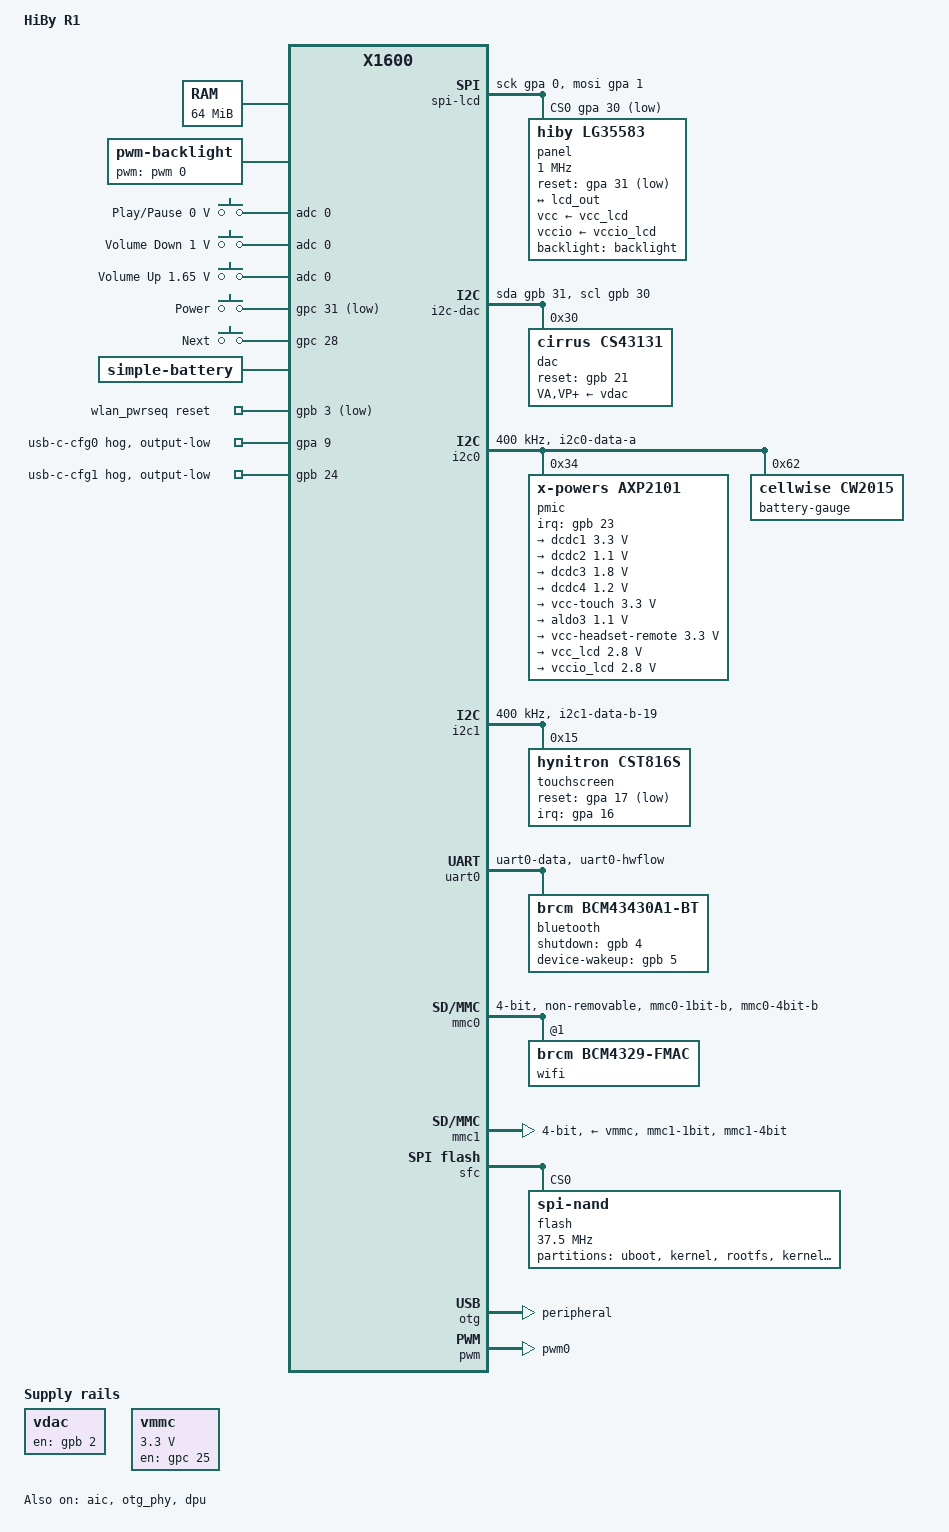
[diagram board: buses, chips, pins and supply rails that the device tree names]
// SPDX-License-Identifier: GPL-2.0
/dts-v1/;

#include "x1600.dtsi"

#include <dt-bindings/gpio/gpio.h>
#include <dt-bindings/input/input.h>
#include <dt-bindings/interrupt-controller/irq.h>

/ {
	compatible = "hiby,r1", "ingenic,x1600";
	model = "HiBy R1";

	/*
	 * The SD card stays mmc0 (and mmcblk0, which init mounts) now that
	 * MSC0, which probes first, has the Wi-Fi chip.
	 */
	aliases {
		mmc0 = &mmc1;
		mmc1 = &mmc0;
	};

	/*
	 * CPM SLPC (0x100000cc): the boot ROM enters its USB boot mode (a108:eaef)
	 * after a reset when this holds "BWS\2". So "reboot loader" (and adb's
	 * "reboot bootloader") lands in the ROM's USB mode, from which
	 * r1-usbboot.py loads U-Boot. A syscon of its own because the CGU node
	 * isn't one; the register is a word the CGU driver never touches.
	 */
	slpc: syscon@100000cc {
		compatible = "syscon", "simple-mfd";
		reg = <0x100000cc 0x4>;

		reboot-mode {
			compatible = "syscon-reboot-mode";
			offset = <0x0>;
			mode-loader = <0x42575302>;
			mode-bootloader = <0x42575302>;
		};
	};

	chosen {
		/* clk_ignore_unused: no clock driver may gate what the display uses. */
		bootargs = "console=tty0 loglevel=8 clk_ignore_unused";
	};

	memory@0 {
		device_type = "memory";
		reg = <0x0 0x4000000>;
	};

	reserved-memory {
		#address-cells = <1>;
		#size-cells = <1>;
		ranges;

		/*
		 * Until its driver takes over, the display controller keeps
		 * scanning out what the stock kernel set up: two 480x800
		 * RGB565 pages, through a frame descriptor the controller
		 * rereads every frame. The stock kernel allocates that
		 * descriptor anywhere, so before the jump the loader chains
		 * it to a self-linked copy at 0x02776f00, in the last row of
		 * page 1: memory the stock kernel won't hand out, and which
		 * nothing shows here.
		 */
		lcd_pages: framebuffer@2600000 {
			reg = <0x02600000 0x177000>;
			no-map;
		};

		/*
		 * The last kernel log and any oops, kept across a watchdog
		 * reset (RAM keeps its contents) for the next boot to read in
		 * /sys/fs/pstore.
		 */
		ramoops@3ff0000 {
			compatible = "ramoops";
			reg = <0x03ff0000 0x10000>;
			record-size = <0x4000>;
			console-size = <0x8000>;
		};
	};

	framebuffer@2600000 {
		compatible = "simple-framebuffer";
		reg = <0x02600000 0xbb800>;
		width = <480>;
		height = <800>;
		stride = <960>;
		format = "r5g6b5";

		/* Keeps the display's pixel clock on. */
		clocks = <&cgu X1600_CLK_LCDPIXCLK>;
	};

	backlight: backlight {
		compatible = "pwm-backlight";
		pwms = <&pwm 0 33333 0>;

		brightness-levels = <0 100>;
		num-interpolated-steps = <100>;
		default-brightness-level = <60>;
	};

	/* The panel's set-up bus: bit-banged, write only. */
	spi-lcd {
		compatible = "spi-gpio";
		#address-cells = <1>;
		#size-cells = <0>;

		sck-gpios = <&gpa 0 GPIO_ACTIVE_HIGH>;
		mosi-gpios = <&gpa 1 GPIO_ACTIVE_HIGH>;
		cs-gpios = <&gpa 30 GPIO_ACTIVE_LOW>;
		num-chipselects = <1>;

		panel@0 {
			compatible = "hiby,lg35583";
			reg = <0>;
			spi-max-frequency = <1000000>;

			vcc-supply = <&vcc_lcd>;
			vccio-supply = <&vccio_lcd>;
			reset-gpios = <&gpa 31 GPIO_ACTIVE_LOW>;
			backlight = <&backlight>;

			port {
				panel_in: endpoint {
					remote-endpoint = <&lcd_out>;
				};
			};
		};
	};

	/* Three buttons share ADC channel 0, each pulling it to its own level. */
	keys-adc {
		compatible = "adc-keys";
		io-channels = <&adc 0>;
		io-channel-names = "buttons";
		keyup-threshold-microvolt = <3300000>;
		poll-interval = <50>;

		button-play-pause {
			label = "Play/Pause";
			linux,code = <KEY_PLAYPAUSE>;
			press-threshold-microvolt = <0>;
		};

		button-volume-down {
			label = "Volume Down";
			linux,code = <KEY_VOLUMEDOWN>;
			press-threshold-microvolt = <1000000>;
		};

		button-volume-up {
			label = "Volume Up";
			linux,code = <KEY_VOLUMEUP>;
			press-threshold-microvolt = <1650000>;
		};
	};

	keys-gpio {
		compatible = "gpio-keys";

		key-power {
			label = "Power";
			gpios = <&gpc 31 GPIO_ACTIVE_LOW>;
			linux,code = <KEY_POWER>;
			wakeup-source;
		};

		key-next {
			label = "Next";
			gpios = <&gpc 28 GPIO_ACTIVE_HIGH>;
			linux,code = <KEY_NEXTSONG>;
		};
	};

	/*
	 * The charge settings of the stock firmware: 700 mA, 4.4 V, 100 mA
	 * termination and precharge.
	 */
	battery: battery {
		compatible = "simple-battery";
		constant-charge-current-max-microamp = <700000>;
		constant-charge-voltage-max-microvolt = <4400000>;
		charge-term-current-microamp = <100000>;
		precharge-current-microamp = <100000>;
	};

	/* PB2 powers the DAC; which of its rails it switches isn't known. */
	vdac: regulator-dac {
		compatible = "regulator-fixed";
		regulator-name = "dac";
		gpio = <&gpb 2 GPIO_ACTIVE_HIGH>;
		enable-active-high;
		startup-delay-us = <10000>;
	};

	/*
	 * PC25 switches the SD card slot's power. It has a pull-down: after a
	 * reset the card is off until something drives it high, which the
	 * stock kernel did.
	 */
	vmmc: regulator-sd {
		compatible = "regulator-fixed";
		regulator-name = "sd";
		regulator-min-microvolt = <3300000>;
		regulator-max-microvolt = <3300000>;
		gpio = <&gpc 25 GPIO_ACTIVE_HIGH>;
		enable-active-high;
		startup-delay-us = <1000>;
	};

	/*
	 * WL_REG_ON (PB3), which powers the Wi-Fi half of the AP6212. Its 32 kHz
	 * sleep clock is Bluetooth's (PC26).
	 */
	wlan_pwrseq: pwrseq-wlan {
		compatible = "mmc-pwrseq-simple";
		reset-gpios = <&gpb 3 GPIO_ACTIVE_LOW>;
		post-power-on-delay-ms = <200>;
	};

	/* The DAC's bus is bit-banged, as on the stock firmware. */
	i2c-dac {
		compatible = "i2c-gpio";
		scl-gpios = <&gpb 30 (GPIO_ACTIVE_HIGH | GPIO_OPEN_DRAIN)>;
		sda-gpios = <&gpb 31 (GPIO_ACTIVE_HIGH | GPIO_OPEN_DRAIN)>;
		i2c-gpio,delay-us = <2>;
		#address-cells = <1>;
		#size-cells = <0>;

		dac: audio-codec@30 {
			compatible = "cirrus,cs43131";
			reg = <0x30>;
			#sound-dai-cells = <0>;

			/*
			 * Active low, but the driver drives 1 to take the DAC
			 * out of reset, so it's described as active high.
			 */
			reset-gpios = <&gpb 21 GPIO_ACTIVE_HIGH>;

			VA-supply = <&vdac>;
			VP-supply = <&vdac>;
			VCP-supply = <&vdac>;
			VD-supply = <&vdac>;
			VL-supply = <&vdac>;
		};
	};

	sound {
		compatible = "simple-audio-card";
		simple-audio-card,name = "HiBy R1";
		simple-audio-card,format = "i2s";
		simple-audio-card,bitclock-master = <&cpu_dai>;
		simple-audio-card,frame-master = <&cpu_dai>;
		/* 22.5792 MHz at 44.1 kHz, 24.576 MHz at 48 kHz, as stock. */
		simple-audio-card,mclk-fs = <512>;

		cpu_dai: simple-audio-card,cpu {
			sound-dai = <&aic>;
			/* The card sets the I2S clock to the MCLK rate. */
			clocks = <&cgu X1600_CLK_I2S0_TX>;
		};

		simple-audio-card,codec {
			sound-dai = <&dac>;
			/*
			 * The X1600 sends 64 bit clocks per frame. Said here
			 * because the DAC driver otherwise derives the slot
			 * width from MCLK.
			 */
			dai-tdm-slot-num = <2>;
			dai-tdm-slot-width = <32>;
		};
	};
};

/*
 * The USB-C port's TCS1421 takes its role from two pins, CFG0 (PA9) and
 * CFG1 (PB24): both low is sink, both high (as the stock firmware leaves
 * them) dual-role, which can attach as a source and leaves the host
 * without VBUS. The USB controller is peripheral only: sink.
 */
&gpa {
	usb-c-cfg0-hog {
		gpio-hog;
		gpios = <9 GPIO_ACTIVE_HIGH>;
		output-low;
		line-name = "usb-c-cfg0";
	};
};

&gpb {
	usb-c-cfg1-hog {
		gpio-hog;
		gpios = <24 GPIO_ACTIVE_HIGH>;
		output-low;
		line-name = "usb-c-cfg1";
	};
};

&i2c0 {
	status = "okay";

	pinctrl-names = "default";
	pinctrl-0 = <&pins_i2c0>;

	clock-frequency = <400000>;

	pmic: pmic@34 {
		compatible = "x-powers,axp2101";
		reg = <0x34>;

		pinctrl-names = "default";
		pinctrl-0 = <&pins_pmic_irq>;

		interrupt-parent = <&gpb>;
		interrupts = <23 IRQ_TYPE_LEVEL_LOW>;
		interrupt-controller;
		#interrupt-cells = <1>;

		usb_power: usb-power {
			compatible = "x-powers,axp2101-usb-power-supply";
		};

		/* Programs the charger from the battery's settings. */
		battery-power {
			compatible = "x-powers,axp2101-battery-power-supply";
			monitored-battery = <&battery>;
		};

		/*
		 * The rails that are on under the stock firmware, at its
		 * voltages, and always on: a described rail no driver claims
		 * is switched off at boot. The others aren't described, so
		 * they are left alone.
		 */
		regulators {
			dcdc1 {
				regulator-min-microvolt = <3300000>;
				regulator-max-microvolt = <3300000>;
				regulator-always-on;
			};

			dcdc2 {
				regulator-min-microvolt = <1100000>;
				regulator-max-microvolt = <1100000>;
				regulator-always-on;
			};

			dcdc3 {
				regulator-min-microvolt = <1800000>;
				regulator-max-microvolt = <1800000>;
				regulator-always-on;
			};

			dcdc4 {
				regulator-min-microvolt = <1200000>;
				regulator-max-microvolt = <1200000>;
				regulator-always-on;
			};

			/* Always on: the touch driver takes no supply. */
			aldo2 {
				regulator-name = "vcc-touch";
				regulator-min-microvolt = <3300000>;
				regulator-max-microvolt = <3300000>;
				regulator-always-on;
			};

			/* On under the stock firmware; its consumer isn't known. */
			aldo3 {
				regulator-min-microvolt = <1100000>;
				regulator-max-microvolt = <1100000>;
				regulator-always-on;
			};

			aldo4 {
				regulator-name = "vcc-headset-remote";
				regulator-min-microvolt = <3300000>;
				regulator-max-microvolt = <3300000>;
				regulator-always-on;
			};

			vcc_lcd: bldo1 {
				regulator-name = "vcc-lcd";
				regulator-min-microvolt = <2800000>;
				regulator-max-microvolt = <2800000>;
			};

			vccio_lcd: bldo2 {
				regulator-name = "vccio-lcd";
				regulator-min-microvolt = <2800000>;
				regulator-max-microvolt = <2800000>;
			};
		};
	};

	battery-gauge@62 {
		compatible = "cellwise,cw2015";
		reg = <0x62>;
		/* Charging while USB power is present. */
		power-supplies = <&usb_power>;
		/* The stock firmware's profile for the R1's battery. */
		cellwise,battery-profile = /bits/ 8 <
			0x18 0x0A 0x65 0x65 0x69 0x6A 0x6A 0x68
			0x66 0x61 0x5F 0x59 0x53 0x4F 0x4A 0x46
			0x42 0x3B 0x33 0x29 0x24 0x33 0x45 0x4B
			0x27 0x21 0x0C 0xCD 0x20 0x40 0x43 0x4A
			0x4F 0x4D 0x4E 0x4E 0x3C 0x1A 0x65 0x30
			0x09 0x43 0x11 0x38 0x70 0x9A 0xB5 0x1E
			0x44 0x77 0x97 0x9B 0x80 0xCD 0xFF 0xCB
			0x2F 0x00 0x64 0xA5 0xB5 0x08 0x40 0x99
		>;
	};
};

&i2c1 {
	status = "okay";

	pinctrl-names = "default";
	pinctrl-0 = <&pins_i2c1>;

	clock-frequency = <400000>;

	touchscreen@15 {
		compatible = "hynitron,cst816s";
		reg = <0x15>;

		interrupt-parent = <&gpa>;
		interrupts = <16 IRQ_TYPE_EDGE_FALLING>;

		reset-gpios = <&gpa 17 GPIO_ACTIVE_LOW>;
	};
};

/*
 * The AP6212 module's Bluetooth (a BCM43430A1) on UART0, PB7-PB10 with
 * RTS/CTS. BT_REG_ON is PB4 and the host's wake line to it PB5, from the
 * stock kernel's GPIO labels. Its 32 kHz clock comes out on PC26, which the
 * stock kernel sets up and nothing here touches yet. The stock firmware runs
 * the link at 3 Mbaud with the UART at 8 clocks a bit (UMR); 8250_ingenic
 * keeps 16, so 24 MHz / 16 is the limit here.
 */
&uart0 {
	status = "okay";

	pinctrl-names = "default";
	pinctrl-0 = <&pins_uart0>;
	uart-has-rtscts;

	bluetooth {
		compatible = "brcm,bcm43430a1-bt";
		/* Its 32 kHz sleep clock, which the chip needs to run. */
		pinctrl-names = "default";
		pinctrl-0 = <&pins_rtc32k>;
		shutdown-gpios = <&gpb 4 GPIO_ACTIVE_HIGH>;
		device-wakeup-gpios = <&gpb 5 GPIO_ACTIVE_HIGH>;
		max-speed = <1500000>;
	};
};

&aic {
	status = "okay";

	pinctrl-names = "default";
	pinctrl-0 = <&pins_i2s>;
};

/*
 * The AP6212's Wi-Fi (a BCM43430A1) over SDIO, on the stock tree's MSC0
 * pins (PB12-PB17, function 0). No line from the chip's host-wake output is
 * known: its interrupts come in band, over DAT1.
 */
&mmc0 {
	status = "okay";

	#address-cells = <1>;
	#size-cells = <0>;

	pinctrl-names = "default";
	pinctrl-0 = <&pins_msc0>;

	bus-width = <4>;
	max-frequency = <50000000>;
	cap-sd-highspeed;
	cap-sdio-irq;
	non-removable;
	keep-power-in-suspend;
	mmc-pwrseq = <&wlan_pwrseq>;

	wifi@1 {
		compatible = "brcm,bcm4329-fmac";
		reg = <1>;
	};
};

/* The SD card slot. */
&mmc1 {
	status = "okay";

	pinctrl-names = "default";
	pinctrl-0 = <&pins_msc1>;

	vmmc-supply = <&vmmc>;
	bus-width = <4>;
	max-frequency = <50000000>;
	cap-sd-highspeed;
	/* The card-detect GPIO isn't known yet: poll. */
	broken-cd;
};

/*
 * The parents the stock kernel gave these clocks; after a reset they run
 * from SCLK_A (1104 MHz), and the backlight flickers. Set here rather than
 * in the consumers, since the CGU can't switch these muxes while a clock
 * is on, and simple-framebuffer holds the LCD's from early on. The rate
 * makes the CGU write PWM's divider with its change enable.
 */
&cgu {
	assigned-clocks = <&cgu X1600_CLK_LCDPIXCLK>, <&cgu X1600_CLK_MSC1>,
			  <&cgu X1600_CLK_PWM>;
	assigned-clock-parents = <&cgu X1600_CLK_MPLL>, <&cgu X1600_CLK_MPLL>,
				 <&cgu X1600_CLK_EPLL>;
	assigned-clock-rates = <0>, <0>, <300000000>;
};

/*
 * The 128 MiB SPI-NAND (stock's partitions). No pinctrl: the boot loader
 * already set PC17-PC22 up to load the kernel, and pinctrl's "sfc" group
 * would also take PB4, the Bluetooth chip's power. 37.5 MHz and quad
 * reads, as Rockbox drives this chip (an SFC clock of 150 MHz).
 */
&sfc {
	status = "okay";

	flash@0 {
		compatible = "spi-nand";
		reg = <0>;
		spi-max-frequency = <37500000>;
		spi-rx-bus-width = <4>;
		spi-tx-bus-width = <1>;

		partitions {
			compatible = "fixed-partitions";
			#address-cells = <1>;
			#size-cells = <1>;

			/*
			 * Only the flash kernel's slot and the root filesystem's
			 * can be written: the boot loader, HiBy's recovery, the
			 * OTA flags, the stock user data and HiBy's own data
			 * stay read-only.
			 */
			partition@0 {
				label = "uboot";
				reg = <0x0 0x80000>;
				read-only;
			};

			partition@80000 {
				label = "kernel";
				reg = <0x80000 0x500000>;
			};

			partition@580000 {
				label = "rootfs";
				reg = <0x580000 0x2d00000>;
			};

			/* HiBy's recovery system. */
			partition@3280000 {
				label = "kernel2";
				reg = <0x3280000 0x500000>;
				read-only;
			};

			partition@3780000 {
				label = "rootfs2";
				reg = <0x3780000 0x1800000>;
				read-only;
			};

			partition@4f80000 {
				label = "ota";
				reg = <0x4f80000 0x80000>;
				read-only;
			};

			partition@5000000 {
				label = "userdata";
				reg = <0x5000000 0x2d00000>;
				read-only;
			};

			/*
			 * HiBy's MAC, serial number and licence data, which the
			 * vendor kernel hides from its MTD device.
			 */
			partition@7d00000 {
				label = "hiby";
				reg = <0x7d00000 0x300000>;
				read-only;
			};
		};
	};
};

&otg_phy {
	status = "okay";
};

&otg {
	status = "okay";

	/*
	 * Peripheral only: host mode would need the USB-C controller as a
	 * source and VBUS switched on through PC24.
	 */
	dr_mode = "peripheral";
};

&dpu {
	pinctrl-names = "default";
	pinctrl-0 = <&pins_lcd>;

	status = "okay";

	port {
		lcd_out: endpoint {
			remote-endpoint = <&panel_in>;
		};
	};
};

&pwm {
	pinctrl-names = "default";
	pinctrl-0 = <&pins_pwm0>;

	status = "okay";
};

&pinctrl {
	pins_i2c0: i2c0 {
		function = "i2c0";
		groups = "i2c0-data-a";
		bias-disable;
	};

	pins_i2c1: i2c1 {
		function = "i2c1";
		groups = "i2c1-data-b-19";
		bias-disable;
	};

	/* Transmit only. PB22, the receive MCLK, is an interrupt input here. */
	pins_i2s: i2s {
		function = "i2s";
		groups = "i2s-data-tx", "i2s-clk-tx", "i2s-sysclk-tx";
		bias-disable;
	};

	/*
	 * The PMIC's interrupt output is open drain with no pull-up on the
	 * board: without this PB23 reads low and the interrupt never stops.
	 */
	pins_pmic_irq: pmic-irq {
		pins = "PB23";
		bias-pull-up;
	};

	pins_lcd: lcd {
		function = "lcd";
		groups = "lcd-18bit-msb";
	};

	pins_pwm0: pwm0 {
		function = "pwm0";
		groups = "pwm0";
	};

	pins_uart0: uart0 {
		function = "uart0";
		groups = "uart0-data", "uart0-hwflow";
		bias-disable;
	};

	pins_msc0: msc0 {
		function = "mmc0";
		groups = "mmc0-1bit-b", "mmc0-4bit-b";
		bias-pull-up;
	};

	pins_msc1: msc1 {
		function = "mmc1";
		groups = "mmc1-1bit", "mmc1-4bit";
		bias-disable;
	};

	pins_rtc32k: rtc32k {
		function = "rtc32k";
		groups = "rtc32k";
	};
};

